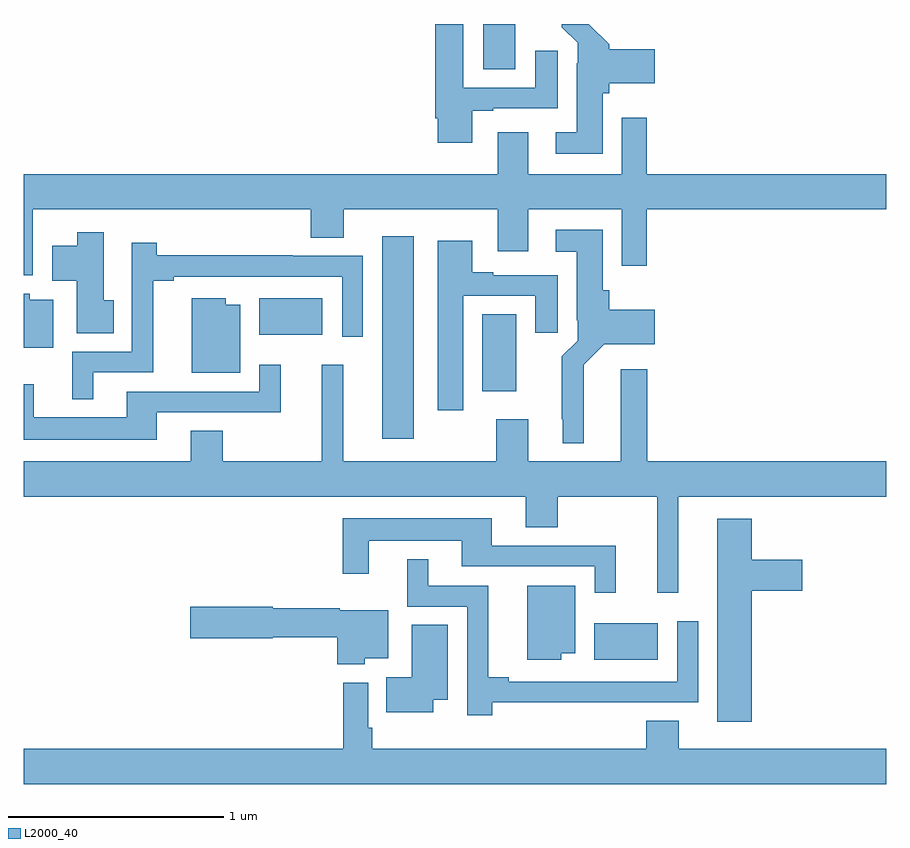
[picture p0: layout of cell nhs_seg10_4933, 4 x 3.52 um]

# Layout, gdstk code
import gdstk
lib = gdstk.Library(unit=1e-6, precision=1e-09)
def R(c, l, rs):  # rectangles x0, y0, x1, y1
    for r in rs: c.add(gdstk.rectangle(r[:2], r[2:], *l))
def P(c, l, *ps):  # polygons
    for p in ps: c.add(gdstk.Polygon(p, *l))
L2000_40 = (2000, 40)

nhs_seg10_4933 = lib.new_cell('nhs_seg10_4933')
R(nhs_seg10_4933, L2000_40, [(397.646,1307.552,397.939,1307.722), (396.662,1308.576,396.808,1309.516), (397.127,1308.798,397.285,1309.154), (396.092,1309.058,396.385,1309.228), (397.13,1310.29,397.279,1310.5)])
P(nhs_seg10_4933, L2000_40, [(397.684,1310.178),(397.715,1310.178),(397.715,1310.225),(397.927,1310.225),(397.927,1310.383),(397.715,1310.383),(397.715,1310.406),(397.621,1310.5),(397.495,1310.5),(397.495,1310.486),(397.569,1310.412),(397.569,1310.318),(397.565,1310.318),(397.565,1309.999),(397.467,1309.999),(397.467,1309.898),(397.684,1309.898)],
  [(397.081,1310.097),(397.177,1310.097),(397.177,1310.109),(397.477,1310.109),(397.477,1310.377),(397.373,1310.377),(397.373,1310.205),(397.039,1310.205),(397.039,1310.5),(396.908,1310.5),(396.908,1310.062),(396.92,1310.062),(396.92,1309.95),(397.081,1309.95)],
  [(397.773,1310.065),(397.773,1309.804),(397.339,1309.804),(397.339,1309.999),(397.199,1309.999),(397.199,1309.804),(395,1309.804),(395,1309.334),(395.043,1309.334),(395.043,1309.64),(396.332,1309.64),(396.332,1309.51),(396.484,1309.51),(396.484,1309.64),(397.199,1309.64),(397.199,1309.446),(397.339,1309.446),(397.339,1309.64),(397.773,1309.64),(397.773,1309.38),(397.889,1309.38),(397.889,1309.64),(399,1309.64),(399,1309.804),(397.889,1309.804),(397.889,1310.065)],
  [(397.597,1308.92),(397.692,1309.016),(397.927,1309.016),(397.927,1309.174),(397.715,1309.174),(397.715,1309.266),(397.684,1309.266),(397.684,1309.546),(397.467,1309.546),(397.467,1309.445),(397.565,1309.445),(397.565,1309.126),(397.569,1309.126),(397.569,1309.032),(397.496,1308.959),(397.496,1308.667),(397.499,1308.667),(397.499,1308.557),(397.597,1308.557)],
  [(395.417,1309.218),(395.371,1309.218),(395.371,1309.534),(395.249,1309.534),(395.249,1309.471),(395.132,1309.471),(395.132,1309.31),(395.246,1309.31),(395.246,1309.066),(395.417,1309.066)],
  [(397.039,1309.239),(397.373,1309.239),(397.373,1309.068),(397.477,1309.068),(397.477,1309.335),(397.177,1309.335),(397.177,1309.348),(397.081,1309.348),(397.081,1309.495),(396.92,1309.495),(396.92,1308.708),(397.039,1308.708)],
  [(395.323,1308.885),(395.6,1308.885),(395.6,1309.309),(395.695,1309.309),(395.695,1309.329),(396.477,1309.329),(396.477,1309.05),(396.573,1309.05),(396.573,1309.425),(396.248,1309.425),(396.248,1309.427),(395.618,1309.427),(395.618,1309.486),(395.502,1309.486),(395.502,1308.981),(395.225,1308.981),(395.225,1308.761),(395.323,1308.761)],
  [(395.137,1309.222),(395.028,1309.222),(395.028,1309.249),(395,1309.249),(395,1308.998),(395.137,1308.998)],
  [(396.004,1309.198),(395.938,1309.198),(395.938,1309.228),(395.78,1309.228),(395.78,1308.884),(396.004,1308.884)],
  [(398.036,1308.308),(399,1308.308),(399,1308.472),(397.892,1308.472),(397.892,1308.898),(397.769,1308.898),(397.769,1308.472),(397.339,1308.472),(397.339,1308.667),(397.192,1308.667),(397.192,1308.472),(396.482,1308.472),(396.482,1308.919),(396.383,1308.919),(396.383,1308.472),(395.922,1308.472),(395.922,1308.614),(395.774,1308.614),(395.774,1308.472),(395,1308.472),(395,1308.308),(397.328,1308.308),(397.328,1308.166),(397.476,1308.166),(397.476,1308.308),(397.937,1308.308),(397.937,1307.862),(398.036,1307.862)],
  [(395.617,1308.699),(396.191,1308.699),(396.191,1308.919),(396.093,1308.919),(396.093,1308.795),(395.477,1308.795),(395.477,1308.676),(395.047,1308.676),(395.047,1308.829),(395,1308.829),(395,1308.572),(395.617,1308.572)],
  [(397.745,1308.081),(397.171,1308.081),(397.171,1308.208),(396.48,1308.208),(396.48,1307.952),(396.601,1307.952),(396.601,1308.104),(397.031,1308.104),(397.031,1307.985),(397.647,1307.985),(397.647,1307.862),(397.745,1307.862)],
  [(398.375,1307.873),(398.611,1307.873),(398.611,1308.015),(398.375,1308.015),(398.375,1308.205),(398.216,1308.205),(398.216,1307.265),(398.375,1307.265)],
  [(397.172,1307.354),(397.802,1307.354),(397.802,1307.355),(398.127,1307.355),(398.127,1307.731),(398.031,1307.731),(398.031,1307.451),(397.249,1307.451),(397.249,1307.471),(397.154,1307.471),(397.154,1307.895),(396.877,1307.895),(396.877,1308.019),(396.779,1308.019),(396.779,1307.799),(397.056,1307.799),(397.056,1307.295),(397.172,1307.295)],
  [(397.492,1307.582),(397.558,1307.582),(397.558,1307.896),(397.334,1307.896),(397.334,1307.552),(397.492,1307.552)],
  [(396.582,1307.558),(396.691,1307.558),(396.691,1307.782),(396.465,1307.782),(396.465,1307.792),(396.156,1307.792),(396.156,1307.798),(395.772,1307.798),(395.772,1307.651),(396.156,1307.651),(396.156,1307.656),(396.454,1307.656),(396.454,1307.531),(396.582,1307.531)],
  [(396.898,1307.366),(396.967,1307.366),(396.967,1307.714),(396.8,1307.714),(396.8,1307.47),(396.682,1307.47),(396.682,1307.309),(396.898,1307.309)],
  [(399,1307.14),(398.038,1307.14),(398.038,1307.27),(397.886,1307.27),(397.886,1307.14),(396.617,1307.14),(396.617,1307.236),(396.597,1307.236),(396.597,1307.446),(396.481,1307.446),(396.481,1307.14),(395,1307.14),(395,1306.976),(399,1306.976)])

lib.write_gds('nhs_seg10_4933.gds')
